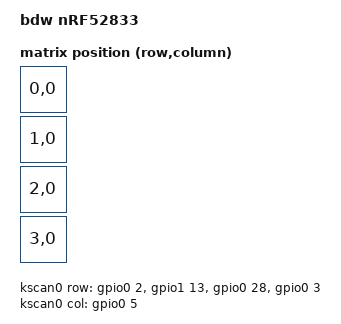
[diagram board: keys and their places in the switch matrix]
/*
 * Copyright (c) 2020 The ZMK Contributors
 *
 * SPDX-License-Identifier: MIT
 */

/dts-v1/;
#include <nordic/nrf52833_qiaa.dtsi>
#include <dt-bindings/zmk/matrix_transform.h>


/ {
    model = "bdw nRF52833";
    compatible = "chenluo,nrf_bdw";

    chosen {
        zephyr,code-partition = &code_partition;
        zephyr,sram = &sram0;
        zephyr,flash = &flash0;
        zmk,battery = &vbatt;
        zmk,kscan = &kscan0;
        zmk,matrix-transform = &default_transform;
    };

    leds {
        compatible = "gpio-leds";
        blue_led: led_2 {
            gpios = <&gpio1 10 GPIO_ACTIVE_HIGH>;
        };
    };

    vbatt: vbatt {
        compatible = "zmk,battery-voltage-divider";
        io-channels = <&adc 2>;
        output-ohms = <1000000>;
        full-ohms = <(1000000 + 1000000)>;
    };

    kscan0: kscan {
        compatible = "zmk,kscan-gpio-matrix";
        diode-direction = "row2col";
        wakeup-source;
        row-gpios
            = <&gpio0 2  (GPIO_ACTIVE_LOW)>
            , <&gpio1 13 (GPIO_ACTIVE_LOW)>
            , <&gpio0 28 (GPIO_ACTIVE_LOW)>
            , <&gpio0 3  (GPIO_ACTIVE_LOW)>
            ;
        col-gpios
            = <&gpio0 5  (GPIO_ACTIVE_LOW | GPIO_PULL_UP)>
            ;
    };
    default_transform: keymap_transform_0 {
        compatible = "zmk,matrix-transform";
        columns = <1>;
        rows = <4>;
        map = <
RC(0,0)
RC(1,0)
RC(2,0)
RC(3,0)
        >;
    };

};

&adc {
    status = "okay";
};

&gpiote {
    status = "okay";
};

&gpio0 {
    status = "okay";
};

&gpio1 {
    status = "okay";
};

zephyr_udc0: &usbd {
    compatible = "nordic,nrf-usbd";
    status = "okay";
};


&flash0 {
    /*
     * For more information, see:
     * http://docs.zephyrproject.org/latest/devices/dts/flash_partitions.html
     */
    partitions {
        compatible = "fixed-partitions";
        #address-cells = <1>;
        #size-cells = <1>;

        sd_partition: partition@0 {
            reg = <0x00000000 0x00026000>;
        };
        code_partition: partition@26000 {
            reg = <0x00026000 0x000c6000>;
        };

        /*
         * The flash starting at 0x000ec000 and ending at
         * 0x000f3fff is reserved for use by the application.
         */

        /*
         * Storage partition will be used by FCB/LittleFS/NVS
         * if enabled.
         */
        storage_partition: partition@ec000 {
            reg = <0x000ec000 0x00008000>;
        };

        boot_partition: partition@f4000 {
            reg = <0x000f4000 0x0000c000>;
        };
    };
};
